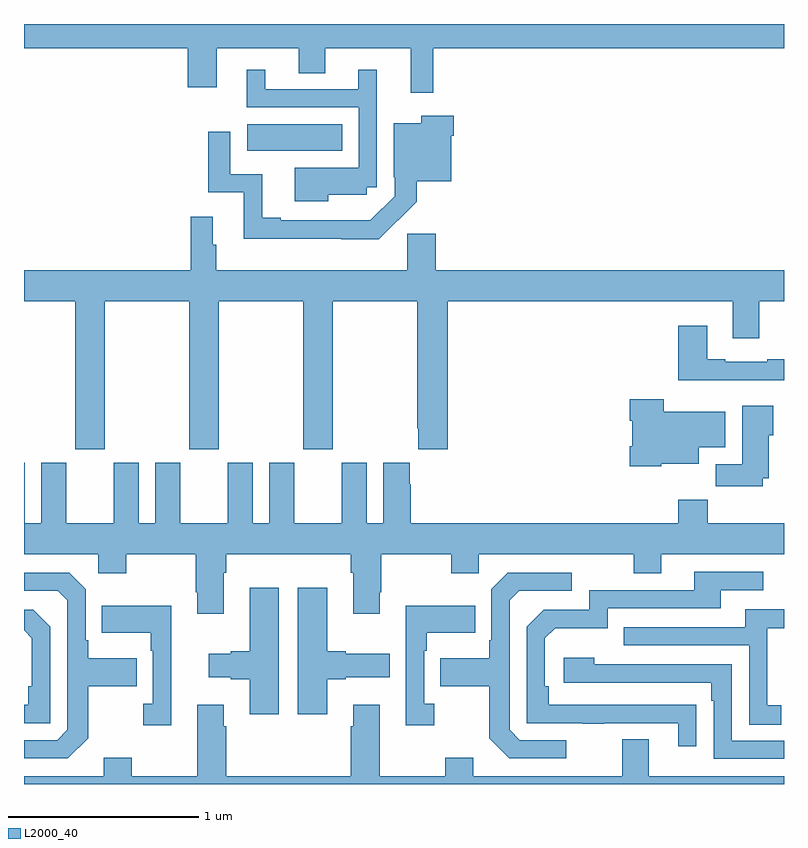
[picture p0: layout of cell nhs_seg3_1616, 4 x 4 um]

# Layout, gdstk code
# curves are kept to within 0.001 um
import gdstk
lib = gdstk.Library(unit=1e-6, precision=1e-09)
def R(c, l, rs):  # rectangles x0, y0, x1, y1
    for r in rs: c.add(gdstk.rectangle(r[:2], r[2:], *l))
def P(c, l, *ps):  # polygons
    for p in ps: c.add(gdstk.Polygon(p, *l))
L2000_40 = (2000, 40)

nhs_seg3_1616 = lib.new_cell('nhs_seg3_1616')
R(nhs_seg3_1616, L2000_40, [(196.176,677.732,196.676,677.872)])
P(nhs_seg3_1616, L2000_40, [(197.153,678.272),(199,678.272),(199,678.4),(195,678.4),(195,678.272),(195.863,678.272),(195.863,678.066),(196.015,678.066),(196.015,678.272),(196.445,678.272),(196.445,678.142),(196.585,678.142),(196.585,678.272),(197.036,678.272),(197.036,678.039),(197.153,678.039)],
  [(196.6,677.501),(196.803,677.501),(196.803,677.541),(196.857,677.541),(196.857,678.16),(196.76,678.16),(196.76,678.057),(196.27,678.057),(196.27,678.16),(196.172,678.16),(196.172,677.961),(196.761,677.961),(196.761,677.644),(196.424,677.644),(196.424,677.468),(196.6,677.468)],
  [(197.066,677.465),(197.066,677.573),(197.248,677.573),(197.248,677.813),(197.261,677.813),(197.261,677.917),(197.09,677.917),(197.09,677.878),(196.947,677.878),(196.947,677.593),(196.95,677.593),(196.95,677.493),(196.823,677.366),(196.351,677.367),(196.351,677.38),(196.255,677.38),(196.255,677.61),(196.086,677.61),(196.086,677.833),(195.97,677.833),(195.97,677.514),(196.157,677.514),(196.157,677.27),(196.669,677.27),(196.669,677.268),(196.868,677.268)],
  [(195.426,676.94),(195.871,676.94),(195.871,676.161),(196.026,676.161),(196.026,676.94),(196.471,676.94),(196.471,676.161),(196.626,676.161),(196.626,676.94),(197.071,676.94),(197.071,676.273),(197.075,676.273),(197.075,676.161),(197.231,676.161),(197.231,676.94),(198.731,676.94),(198.731,676.746),(198.871,676.746),(198.871,676.94),(199,676.94),(199,677.104),(197.168,677.104),(197.168,677.295),(197.017,677.295),(197.017,677.104),(196.013,677.104),(196.013,677.237),(195.994,677.237),(195.994,677.386),(195.877,677.386),(195.877,677.104),(195,677.104),(195,676.94),(195.271,676.94),(195.271,676.161),(195.426,676.161)],
  [(199,676.636),(198.911,676.636),(198.911,676.623),(198.691,676.623),(198.691,676.636),(198.595,676.636),(198.595,676.813),(198.443,676.813),(198.443,676.526),(199,676.526)],
  [(198.354,676.085),(198.55,676.085),(198.55,676.172),(198.691,676.172),(198.691,676.36),(198.366,676.36),(198.366,676.426),(198.188,676.426),(198.188,676.313),(198.2,676.313),(198.2,676.177),(198.188,676.177),(198.188,676.073),(198.354,676.073)],
  [(198.889,676.01),(198.919,676.01),(198.919,676.236),(198.943,676.236),(198.943,676.39),(198.779,676.39),(198.779,676.084),(198.64,676.084),(198.64,675.966),(198.889,675.966)],
  [(197.036,675.977),(197.029,675.977),(197.029,676.09),(196.892,676.09),(196.892,675.772),(196.804,675.772),(196.804,676.09),(196.673,676.09),(196.673,675.772),(196.423,675.772),(196.423,676.09),(196.292,676.09),(196.292,675.772),(196.204,675.772),(196.204,676.09),(196.073,676.09),(196.073,675.772),(195.823,675.772),(195.823,676.09),(195.692,676.09),(195.692,675.772),(195.604,675.772),(195.604,676.09),(195.473,676.09),(195.473,675.772),(195.223,675.772),(195.223,676.09),(195.092,676.09),(195.092,675.772),(195.004,675.772),(195.004,676.09),(195,676.09),(195,675.608),(195.39,675.608),(195.39,675.509),(195.537,675.509),(195.537,675.608),(195.904,675.608),(195.904,675.409),(195.911,675.409),(195.911,675.297),(196.051,675.297),(196.051,675.512),(196.064,675.512),(196.064,675.608),(196.721,675.608),(196.721,675.512),(196.733,675.512),(196.733,675.297),(196.873,675.297),(196.873,675.409),(196.881,675.409),(196.881,675.608),(197.248,675.608),(197.248,675.509),(197.394,675.509),(197.394,675.608),(198.208,675.608),(198.208,675.509),(198.355,675.509),(198.355,675.608),(199,675.608),(199,675.772),(198.599,675.772),(198.599,675.896),(198.443,675.896),(198.443,675.772),(197.036,675.772)],
  [(198.539,674.816),(197.762,674.817),(197.762,674.914),(197.742,674.914),(197.742,675.168),(197.795,675.221),(198.072,675.221),(198.072,675.324),(198.667,675.324),(198.667,675.42),(198.892,675.42),(198.892,675.516),(198.527,675.516),(198.527,675.42),(197.976,675.42),(197.976,675.318),(197.736,675.318),(197.646,675.228),(197.646,674.721),(197.941,674.721),(197.941,674.716),(198.053,674.716),(198.053,674.721),(198.443,674.721),(198.443,674.598),(198.539,674.598)],
  [(197.854,674.631),(197.61,674.631),(197.556,674.685),(197.556,675.366),(197.607,675.417),(197.884,675.417),(197.884,675.513),(197.547,675.513),(197.46,675.426),(197.46,675.157),(197.448,675.157),(197.448,675.061),(197.191,675.061),(197.191,674.914),(197.448,674.914),(197.448,674.641),(197.553,674.535),(197.854,674.535)],
  [(195.337,674.641),(195.337,674.914),(195.593,674.914),(195.593,675.061),(195.337,675.061),(195.337,675.157),(195.324,675.157),(195.324,675.426),(195.237,675.513),(195,675.513),(195,675.417),(195.177,675.417),(195.228,675.366),(195.228,674.685),(195.174,674.631),(195,674.631),(195,674.535),(195.231,674.535)],
  [(196.597,674.951),(196.693,674.951),(196.693,674.963),(196.924,674.963),(196.924,675.085),(196.693,675.085),(196.693,675.098),(196.597,675.098),(196.597,675.433),(196.442,675.433),(196.442,674.766),(196.597,674.766)],
  [(196.342,675.433),(196.187,675.433),(196.187,675.098),(196.088,675.098),(196.088,675.085),(195.972,675.085),(195.972,674.963),(196.088,674.963),(196.088,674.951),(196.187,674.951),(196.187,674.766),(196.342,674.766)],
  [(197.158,674.822),(197.106,674.822),(197.106,675.101),(197.119,675.101),(197.119,675.197),(197.375,675.197),(197.375,675.337),(197.01,675.337),(197.01,674.709),(197.158,674.709)],
  [(195.776,675.337),(195.409,675.337),(195.409,675.197),(195.666,675.197),(195.666,675.101),(195.678,675.101),(195.678,674.822),(195.627,674.822),(195.627,674.709),(195.776,674.709)],
  [(198.985,674.814),(198.912,674.814),(198.912,675.219),(199,675.219),(199,675.319),(198.797,675.319),(198.797,675.225),(198.157,675.225),(198.157,675.129),(198.816,675.129),(198.816,674.713),(198.985,674.713)],
  [(195.138,675.228),(195.048,675.318),(195,675.318),(195,675.21),(195.042,675.168),(195.042,674.914),(195.022,674.914),(195.022,674.817),(195,674.817),(195,674.721),(195.138,674.721)],
  [(199,674.628),(198.726,674.628),(198.726,675.03),(198.002,675.03),(198.002,675.064),(197.841,675.064),(197.841,674.934),(198.617,674.934),(198.617,674.837),(198.63,674.837),(198.63,674.532),(199,674.532)],
  [(199,674.44),(198.289,674.44),(198.289,674.635),(198.149,674.635),(198.149,674.44),(197.365,674.44),(197.365,674.539),(197.218,674.539),(197.218,674.44),(196.873,674.44),(196.873,674.818),(196.733,674.818),(196.733,674.705),(196.721,674.705),(196.721,674.44),(196.064,674.44),(196.064,674.705),(196.051,674.705),(196.051,674.818),(195.911,674.818),(195.911,674.44),(195.567,674.44),(195.567,674.539),(195.419,674.539),(195.419,674.44),(195,674.44),(195,674.4),(199,674.4)])

lib.write_gds('nhs_seg3_1616.gds')
